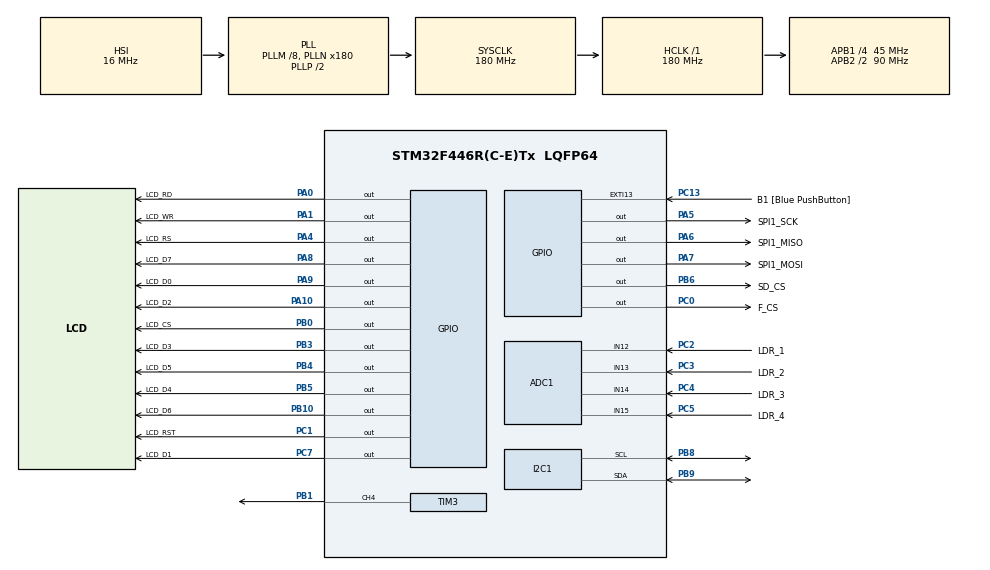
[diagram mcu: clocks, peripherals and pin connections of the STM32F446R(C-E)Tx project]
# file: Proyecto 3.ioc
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ADC1.Channel-0\#ChannelRegularConversion=ADC_CHANNEL_12
ADC1.Channel-1\#ChannelRegularConversion=ADC_CHANNEL_13
ADC1.Channel-2\#ChannelRegularConversion=ADC_CHANNEL_14
ADC1.Channel-3\#ChannelRegularConversion=ADC_CHANNEL_15
ADC1.ContinuousConvMode=ENABLE
ADC1.DMAContinuousRequests=ENABLE
ADC1.EOCSelection=ADC_EOC_SEQ_CONV
ADC1.NbrOfConversion=4
ADC1.NbrOfConversionFlag=1
ADC1.Rank-0\#ChannelRegularConversion=1
ADC1.Rank-1\#ChannelRegularConversion=2
ADC1.Rank-2\#ChannelRegularConversion=3
ADC1.Rank-3\#ChannelRegularConversion=4
ADC1.SamplingTime-0\#ChannelRegularConversion=ADC_SAMPLETIME_480CYCLES
ADC1.SamplingTime-1\#ChannelRegularConversion=ADC_SAMPLETIME_480CYCLES
ADC1.SamplingTime-2\#ChannelRegularConversion=ADC_SAMPLETIME_480CYCLES
ADC1.SamplingTime-3\#ChannelRegularConversion=ADC_SAMPLETIME_480CYCLES
ADC1.ScanConvMode=ENABLE
ADC1.master=1
Dma.ADC1.0.Direction=DMA_PERIPH_TO_MEMORY
Dma.ADC1.0.FIFOMode=DMA_FIFOMODE_DISABLE
Dma.ADC1.0.Instance=DMA2_Stream0
Dma.ADC1.0.MemDataAlignment=DMA_MDATAALIGN_HALFWORD
Dma.ADC1.0.MemInc=DMA_MINC_ENABLE
Dma.ADC1.0.Mode=DMA_CIRCULAR
Dma.ADC1.0.PeriphDataAlignment=DMA_PDATAALIGN_HALFWORD
Dma.ADC1.0.PeriphInc=DMA_PINC_DISABLE
Dma.ADC1.0.Priority=DMA_PRIORITY_LOW
Dma.Request0=ADC1
Dma.Request1=TIM3_CH4/UP
Dma.TIM3_CH4/UP.1.Direction=DMA_MEMORY_TO_PERIPH
Dma.TIM3_CH4/UP.1.FIFOMode=DMA_FIFOMODE_DISABLE
Dma.TIM3_CH4/UP.1.Instance=DMA1_Stream2
Dma.TIM3_CH4/UP.1.MemDataAlignment=DMA_MDATAALIGN_HALFWORD
Dma.TIM3_CH4/UP.1.MemInc=DMA_MINC_ENABLE
Dma.TIM3_CH4/UP.1.Mode=DMA_NORMAL
Dma.TIM3_CH4/UP.1.PeriphDataAlignment=DMA_PDATAALIGN_HALFWORD
Dma.TIM3_CH4/UP.1.PeriphInc=DMA_PINC_DISABLE
Dma.TIM3_CH4/UP.1.Priority=DMA_PRIORITY_LOW
Mcu.Family=STM32F4
Mcu.Name=STM32F446R(C-E)Tx
Mcu.Package=LQFP64
NVIC.DMA1_Stream2_IRQn=true\:0\:0\:false\:false\:true\:false\:true\:true
NVIC.DMA2_Stream0_IRQn=true\:0\:0\:false\:false\:true\:false\:true\:true
NVIC.I2C1_ER_IRQn=true\:0\:0\:false\:false\:true\:true\:true\:true
NVIC.I2C1_EV_IRQn=true\:0\:0\:false\:false\:true\:true\:true\:true
NVIC.PriorityGroup=NVIC_PRIORITYGROUP_0
PA0-WKUP.GPIO_Label=LCD_RD
PA0-WKUP.GPIO_Speed=GPIO_SPEED_FREQ_VERY_HIGH
PA0-WKUP.PinState=GPIO_PIN_SET
PA0-WKUP.Signal=GPIO_Output
PA1.GPIO_Label=LCD_WR
PA1.GPIO_Speed=GPIO_SPEED_FREQ_VERY_HIGH
PA1.PinState=GPIO_PIN_SET
PA1.Signal=GPIO_Output
PA10.GPIO_Label=LCD_D2
PA10.GPIO_Speed=GPIO_SPEED_FREQ_VERY_HIGH
PA10.Signal=GPIO_Output
PA13.GPIO_Label=TMS
PA13.Signal=SYS_JTMS-SWDIO
PA14.GPIO_Label=TCK
PA14.Signal=SYS_JTCK-SWCLK
PA2.GPIO_Label=USART_TX
PA2.Signal=USART2_TX
PA3.GPIO_Label=USART_RX
PA3.Signal=USART2_RX
PA4.GPIO_Label=LCD_RS
PA4.GPIO_Speed=GPIO_SPEED_FREQ_VERY_HIGH
PA4.Signal=GPIO_Output
PA5.GPIO_Label=SPI1_SCK
PA5.GPIO_Speed=GPIO_SPEED_FREQ_VERY_HIGH
PA5.Signal=GPIO_Output
PA6.GPIO_Label=SPI1_MISO
PA6.GPIO_Speed=GPIO_SPEED_FREQ_VERY_HIGH
PA6.Signal=GPIO_Output
PA7.GPIO_Label=SPI1_MOSI
PA7.GPIO_Speed=GPIO_SPEED_FREQ_VERY_HIGH
PA7.Signal=GPIO_Output
PA8.GPIO_Label=LCD_D7
PA8.GPIO_Speed=GPIO_SPEED_FREQ_VERY_HIGH
PA8.Signal=GPIO_Output
PA9.GPIO_Label=LCD_D0
PA9.GPIO_Speed=GPIO_SPEED_FREQ_VERY_HIGH
PA9.Signal=GPIO_Output
PB0.GPIO_Label=LCD_CS
PB0.GPIO_Speed=GPIO_SPEED_FREQ_VERY_HIGH
PB0.PinState=GPIO_PIN_SET
PB0.Signal=GPIO_Output
PB1.Signal=S_TIM3_CH4
PB10.GPIO_Label=LCD_D6
PB10.GPIO_Speed=GPIO_SPEED_FREQ_VERY_HIGH
PB10.Signal=GPIO_Output
PB3.GPIO_Label=LCD_D3
PB3.GPIO_Speed=GPIO_SPEED_FREQ_VERY_HIGH
PB3.Signal=GPIO_Output
PB4.GPIO_Label=LCD_D5
PB4.GPIO_Speed=GPIO_SPEED_FREQ_VERY_HIGH
PB4.Signal=GPIO_Output
PB5.GPIO_Label=LCD_D4
PB5.GPIO_Speed=GPIO_SPEED_FREQ_VERY_HIGH
PB5.Signal=GPIO_Output
PB6.GPIO_Label=SD_CS
PB6.GPIO_Speed=GPIO_SPEED_FREQ_VERY_HIGH
PB6.PinState=GPIO_PIN_SET
PB6.Signal=GPIO_Output
PB8.Mode=I2C
PB8.Signal=I2C1_SCL
PB9.Mode=I2C
PB9.Signal=I2C1_SDA
PC0.GPIO_Label=F_CS
PC0.GPIO_Speed=GPIO_SPEED_FREQ_VERY_HIGH
PC0.PinState=GPIO_PIN_SET
PC0.Signal=GPIO_Output
PC1.GPIO_Label=LCD_RST
PC1.GPIO_Speed=GPIO_SPEED_FREQ_VERY_HIGH
PC1.PinState=GPIO_PIN_SET
PC1.Signal=GPIO_Output
PC13.GPIO_Label=B1 [Blue PushButton]
PC13.GPIO_ModeDefaultEXTI=GPIO_MODE_IT_FALLING
PC13.Signal=GPXTI13
PC14-OSC32_IN.Signal=RCC_OSC32_IN
PC15-OSC32_OUT.Signal=RCC_OSC32_OUT
PC2.GPIO_Label=LDR_1
PC2.Signal=ADCx_IN12
PC3.GPIO_Label=LDR_2
PC3.Signal=ADCx_IN13
PC4.GPIO_Label=LDR_3
PC4.Signal=ADCx_IN14
PC5.GPIO_Label=LDR_4
PC5.Signal=ADCx_IN15
PC7.GPIO_Label=LCD_D1
PC7.GPIO_Speed=GPIO_SPEED_FREQ_VERY_HIGH
PC7.Signal=GPIO_Output
PH0-OSC_IN.Signal=RCC_OSC_IN
PH1-OSC_OUT.Signal=RCC_OSC_OUT
ProjectManager.HeapSize=0x200
ProjectManager.StackSize=0x400
ProjectManager.TargetToolchain=STM32CubeIDE
RCC.AHBFreq_Value=180000000
RCC.APB1CLKDivider=RCC_HCLK_DIV4
RCC.APB1Freq_Value=45000000
RCC.APB1TimFreq_Value=90000000
RCC.APB2CLKDivider=RCC_HCLK_DIV2
RCC.APB2Freq_Value=90000000
RCC.APB2TimFreq_Value=180000000
RCC.CortexFreq_Value=180000000
RCC.FLatency-AdvancedSettings=FLASH_LATENCY_5
RCC.HCLKFreq_Value=180000000
RCC.HSE_VALUE=8000000
RCC.HSI_VALUE=16000000
RCC.LSE_VALUE=32768
RCC.PLLM=8
RCC.PLLN=180
RCC.SYSCLKFreq_VALUE=180000000
RCC.SYSCLKSource=RCC_SYSCLKSOURCE_PLLCLK
RCC.USBFreq_Value=180000000
RCC.VCOOutputFreq_Value=360000000
SH.ADCx_IN12.0=ADC1_IN12,IN12
SH.ADCx_IN13.0=ADC1_IN13,IN13
SH.ADCx_IN14.0=ADC1_IN14,IN14
SH.ADCx_IN15.0=ADC1_IN15,IN15
SH.S_TIM3_CH4.0=TIM3_CH4,PWM Generation4 CH4
TIM3.Channel-PWM\ Generation4\ CH4=TIM_CHANNEL_4
TIM3.Period=112
board=NUCLEO-F446RE

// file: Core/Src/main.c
/* USER CODE BEGIN Header */
/**
  ******************************************************************************
  * @file           : main.c
  * @brief          : Main program body
  ******************************************************************************
  * @attention
  *
  * Copyright (c) 2026 STMicroelectronics.
  * All rights reserved.
  *
  * This software is licensed under terms that can be found in the LICENSE file
  * in the root directory of this software component.
  * If no LICENSE file comes with this software, it is provided AS-IS.
  *
  ******************************************************************************
  */
/* USER CODE END Header */
#include "main.h"

/* USER CODE BEGIN PD */
#define LCD_WIDTH   320U
#define LCD_HEIGHT  240U
#define LCD_MADCTL  0x28U  //Horizontal. Usar 0xE8 para girar 180 grados.
#define LDR_LIGHT_ON   3000U
#define LDR_LIGHT_OFF  2600U
#define I2C_A_ADDRESS 0x31U
#define NEOPIXEL_COUNT 4U
#define NEOPIXEL_RESET_SLOTS 240U
#define NEOPIXEL_ZERO 34U
#define NEOPIXEL_ONE 68U
#define NEOPIXEL_FRAME_SIZE (NEOPIXEL_COUNT * 24U + NEOPIXEL_RESET_SLOTS)

#define RGB565(r, g, b) ((uint16_t)((((r) & 0xF8U) << 8) | \
                                   (((g) & 0xFCU) << 3) | \
                                   (((b) & 0xF8U) >> 3)))
#define C_ROAD   RGB565(38U, 50U, 56U)
#define C_BAY    RGB565(214U, 217U, 218U)
#define C_LINE   RGB565(239U, 196U, 56U)
#define C_TEXT   RGB565(30U, 41U, 48U)
#define C_WHITE  RGB565(255U, 255U, 255U)
#define C_FREE   RGB565(22U, 101U, 52U)
#define C_CAR    RGB565(223U, 70U, 70U)
#define C_ROOF   RGB565(241U, 123U, 114U)
#define C_WHEEL  RGB565(23U, 33U, 38U)
/* USER CODE END PD */

ADC_HandleTypeDef hadc1;
DMA_HandleTypeDef hdma_adc1;
I2C_HandleTypeDef hi2c1;
TIM_HandleTypeDef htim3;
DMA_HandleTypeDef hdma_tim3_ch4_up;

/* USER CODE BEGIN PV */
//P1 a P4 usan LDR; P5 a P8 reciben su estado del ESP32.
static volatile uint8_t parkingOccupied[8] = {0U};
//DMA escribe lecturas de 12 bits en este arreglo de medias palabras.
static volatile uint16_t ldrRaw[4] = {0U};
//Cada valor indica la duracion en alto de un bit; al final van 300 us en bajo.
static uint16_t neopixelFrame[NEOPIXEL_FRAME_SIZE] = {0U};
static volatile uint8_t neopixelFinished = 0U;
//El ESP32 lee tres bytes y escribe cuatro bytes con los ocho espacios.
static uint8_t i2cLocal[3] = {0x5AU, 0U, 0x5AU};
static uint8_t i2cGlobalRx[4] = {0U};
static volatile uint32_t i2cGlobalFrame = 0U;
static uint8_t i2cReady = 0U;
/* USER CODE END PV */

void SystemClock_Config(void);
static void MX_GPIO_Init(void);
static void MX_DMA_Init(void);
static void MX_ADC1_Init(void);
static void MX_I2C1_Init(void);
static void MX_TIM3_Init(void);

/* USER CODE BEGIN 0 */
//El primer LED corresponde a P1, el cuarto a P4; el orden de color es GRB.
static void NeoPixel_Show(void)
{
  uint16_t index = 0U;

  for (uint8_t slot = 0U; slot < NEOPIXEL_COUNT; ++slot)
  {
    uint8_t green = (parkingOccupied[slot] == 0U) ? 32U : 0U;
    uint8_t red = (parkingOccupied[slot] == 0U) ? 0U : 32U;
    uint32_t grb = ((uint32_t)green << 16) | ((uint32_t)red << 8);

    for (uint8_t bit = 0U; bit < 24U; ++bit)
    {
      neopixelFrame[index++] = ((grb & (1UL << (23U - bit))) != 0U)
                              ? NEOPIXEL_ONE : NEOPIXEL_ZERO;
    }
  }

  while (index < NEOPIXEL_FRAME_SIZE) { neopixelFrame[index++] = 0U; }

  neopixelFinished = 0U;
  if (HAL_TIM_PWM_Start_DMA(&htim3, TIM_CHANNEL_4,
                            (uint32_t *)neopixelFrame,
                            (uint16_t)NEOPIXEL_FRAME_SIZE) != HAL_OK)
  {
    Error_Handler();
  }

  uint32_t start = HAL_GetTick();
  while (neopixelFinished == 0U)
  {
    if ((HAL_GetTick() - start) > 10U) { Error_Handler(); }
  }

  if (HAL_TIM_PWM_Stop_DMA(&htim3, TIM_CHANNEL_4) != HAL_OK)
  {
    Error_Handler();
  }
}

void HAL_TIM_PWM_PulseFinishedCallback(TIM_HandleTypeDef *htim)
{
  if (htim->Instance == TIM3) { neopixelFinished = 1U; }
}

//TFT ILI9341 de 8 bits: D0=PA9, D1=PC7, D2=PA10, D3=PB3.
//D4=PB5, D5=PB4, D6=PB10, D7=PA8.
//RD=PA0, WR=PA1, RS=PA4, CS=PB0, RST=PC1.
//RD permanece en alto; solo escribimos en la pantalla.
static void LCD_Write8(uint8_t value)
{
  HAL_GPIO_WritePin(GPIOA, LCD_D0_Pin, (value & 0x01U) ? GPIO_PIN_SET : GPIO_PIN_RESET);
  HAL_GPIO_WritePin(GPIOC, LCD_D1_Pin, (value & 0x02U) ? GPIO_PIN_SET : GPIO_PIN_RESET);
  HAL_GPIO_WritePin(GPIOA, LCD_D2_Pin, (value & 0x04U) ? GPIO_PIN_SET : GPIO_PIN_RESET);
  HAL_GPIO_WritePin(GPIOB, LCD_D3_Pin, (value & 0x08U) ? GPIO_PIN_SET : GPIO_PIN_RESET);
  HAL_GPIO_WritePin(GPIOB, LCD_D4_Pin, (value & 0x10U) ? GPIO_PIN_SET : GPIO_PIN_RESET);
  HAL_GPIO_WritePin(GPIOB, LCD_D5_Pin, (value & 0x20U) ? GPIO_PIN_SET : GPIO_PIN_RESET);
  HAL_GPIO_WritePin(GPIOB, LCD_D6_Pin, (value & 0x40U) ? GPIO_PIN_SET : GPIO_PIN_RESET);
  HAL_GPIO_WritePin(GPIOA, LCD_D7_Pin, (value & 0x80U) ? GPIO_PIN_SET : GPIO_PIN_RESET);

  __NOP(); __NOP(); __NOP(); __NOP();
  HAL_GPIO_WritePin(GPIOA, LCD_WR_Pin, GPIO_PIN_RESET);
  __NOP(); __NOP(); __NOP(); __NOP();
  HAL_GPIO_WritePin(GPIOA, LCD_WR_Pin, GPIO_PIN_SET);
  __NOP(); __NOP(); __NOP(); __NOP();
}

//Deja CS activo y RS en modo datos despues del comando.
static void LCD_BeginCommand(uint8_t command)
{
  HAL_GPIO_WritePin(GPIOB, LCD_CS_Pin, GPIO_PIN_RESET);
  HAL_GPIO_WritePin(GPIOA, LCD_RS_Pin, GPIO_PIN_RESET);
  LCD_Write8(command);
  HAL_GPIO_WritePin(GPIOA, LCD_RS_Pin, GPIO_PIN_SET);
}

static void LCD_EndWrite(void)
{
  HAL_GPIO_WritePin(GPIOB, LCD_CS_Pin, GPIO_PIN_SET);
}

static void LCD_WriteRegister(uint8_t command, const uint8_t *data, uint8_t count)
{
  LCD_BeginCommand(command);
  for (uint8_t i = 0U; i < count; ++i)
  {
    LCD_Write8(data[i]);
  }
  LCD_EndWrite();
}

static void LCD_Init(void)
{
  //Formato: comando, cantidad de parametros y parametros.
  static const uint8_t init[] = {
    0xEF, 3, 0x03, 0x80, 0x02,
    0xCF, 3, 0x00, 0xC1, 0x30,
    0xED, 4, 0x64, 0x03, 0x12, 0x81,
    0xE8, 3, 0x85, 0x00, 0x78,
    0xCB, 5, 0x39, 0x2C, 0x00, 0x34, 0x02,
    0xF7, 1, 0x20,
    0xEA, 2, 0x00, 0x00,
    0xC0, 1, 0x23,
    0xC1, 1, 0x10,
    0xC5, 2, 0x3E, 0x28,
    0xC7, 1, 0x86,
    0x36, 1, LCD_MADCTL,
    0x3A, 1, 0x55,
    0xB1, 2, 0x00, 0x18,
    0xB6, 3, 0x08, 0x82, 0x27,
    0xF2, 1, 0x00,
    0x26, 1, 0x01,
    0xE0, 15, 0x0F, 0x31, 0x2B, 0x0C, 0x0E, 0x08, 0x4E, 0xF1,
              0x37, 0x07, 0x10, 0x03, 0x0E, 0x09, 0x00,
    0xE1, 15, 0x00, 0x0E, 0x14, 0x03, 0x11, 0x07, 0x31, 0xC1,
              0x48, 0x08, 0x0F, 0x0C, 0x31, 0x36, 0x0F
  };

  HAL_GPIO_WritePin(GPIOB, LCD_CS_Pin, GPIO_PIN_SET);
  HAL_GPIO_WritePin(GPIOA, LCD_RD_Pin | LCD_WR_Pin | LCD_RS_Pin, GPIO_PIN_SET);

  HAL_GPIO_WritePin(GPIOC, LCD_RST_Pin, GPIO_PIN_SET);
  HAL_Delay(5U);
  HAL_GPIO_WritePin(GPIOC, LCD_RST_Pin, GPIO_PIN_RESET);
  HAL_Delay(20U);
  HAL_GPIO_WritePin(GPIOC, LCD_RST_Pin, GPIO_PIN_SET);
  HAL_Delay(150U);

  LCD_WriteRegister(0x01U, 0, 0U); //Reinicio por software.
  HAL_Delay(150U);

  uint32_t i = 0U;
  while (i < sizeof(init))
  {
    uint8_t command = init[i++];
    uint8_t count = init[i++];
    LCD_WriteRegister(command, &init[i], count);
    i += count;
  }

  LCD_WriteRegister(0x11U, 0, 0U); //Salir de reposo.
  HAL_Delay(150U);
  LCD_WriteRegister(0x29U, 0, 0U); //Encender la pantalla.
  HAL_Delay(20U);
}

//Dibuja un rectangulo recortado a los limites de la pantalla.
static void LCD_FillRect(uint16_t x, uint16_t y, uint16_t w, uint16_t h,
                         uint16_t color)
{
  if ((x >= LCD_WIDTH) || (y >= LCD_HEIGHT) || (w == 0U) || (h == 0U))
  {
    return;
  }
  if (w > LCD_WIDTH - x)  { w = LCD_WIDTH - x; }
  if (h > LCD_HEIGHT - y) { h = LCD_HEIGHT - y; }

  uint16_t xEnd = x + w - 1U;
  uint16_t yEnd = y + h - 1U;
  uint8_t coordinates[4];

  coordinates[0] = (uint8_t)(x >> 8);
  coordinates[1] = (uint8_t)x;
  coordinates[2] = (uint8_t)(xEnd >> 8);
  coordinates[3] = (uint8_t)xEnd;
  LCD_WriteRegister(0x2AU, coordinates, 4U);

  coordinates[0] = (uint8_t)(y >> 8);
  coordinates[1] = (uint8_t)y;
  coordinates[2] = (uint8_t)(yEnd >> 8);
  coordinates[3] = (uint8_t)yEnd;
  LCD_WriteRegister(0x2BU, coordinates, 4U);

  LCD_BeginCommand(0x2CU);
  uint32_t pixels = (uint32_t)w * h;
  while (pixels-- != 0U)
  {
    LCD_Write8((uint8_t)(color >> 8));
    LCD_Write8((uint8_t)color);
  }
  LCD_EndWrite();
}

//Fuente 5x7 con los caracteres usados por la interfaz.
static void LCD_DrawText(uint16_t x, uint16_t y, const char *text,
                         uint16_t color, uint8_t scale)
{
  static const char characters[] = "0123456789PBLIRES:/ ";
  static const uint8_t glyphs[][5] = {
    {0x3E,0x51,0x49,0x45,0x3E}, //0
    {0x00,0x42,0x7F,0x40,0x00}, //1
    {0x42,0x61,0x51,0x49,0x46}, //2
    {0x21,0x41,0x45,0x4B,0x31}, //3
    {0x18,0x14,0x12,0x7F,0x10}, //4
    {0x27,0x45,0x45,0x45,0x39}, //5
    {0x3C,0x4A,0x49,0x49,0x30}, //6
    {0x01,0x71,0x09,0x05,0x03}, //7
    {0x36,0x49,0x49,0x49,0x36}, //8
    {0x06,0x49,0x49,0x29,0x1E}, //9
    {0x7F,0x09,0x09,0x09,0x06}, //P
    {0x7F,0x49,0x49,0x49,0x36}, //B
    {0x7F,0x40,0x40,0x40,0x40}, //L
    {0x00,0x41,0x7F,0x41,0x00}, //I
    {0x7F,0x09,0x19,0x29,0x46}, //R
    {0x7F,0x49,0x49,0x49,0x41}, //E
    {0x46,0x49,0x49,0x49,0x31}, //S
    {0x00,0x36,0x36,0x00,0x00}, //:
    {0x20,0x10,0x08,0x04,0x02}, //Barra
    {0x00,0x00,0x00,0x00,0x00}  //Espacio
  };

  while (*text != '\0')
  {
    uint8_t index = 0U;
    while ((characters[index] != '\0') && (characters[index] != *text))
    {
      ++index;
    }

    if (characters[index] != '\0')
    {
      for (uint8_t column = 0U; column < 5U; ++column)
      {
        for (uint8_t row = 0U; row < 7U; ++row)
        {
          if ((glyphs[index][column] & (1U << row)) != 0U)
          {
            LCD_FillRect(x + column * scale, y + row * scale,
                         scale, scale, color);
          }
        }
      }
    }

    x += 6U * scale;
    ++text;
  }
}

//Carro visto desde arriba, hecho con rectangulos.
static void Parking_DrawCar(uint16_t x, uint16_t y, uint8_t facesDown)
{
  LCD_FillRect(x - 3U, y + 8U, 4U, 11U, C_WHEEL);
  LCD_FillRect(x + 27U, y + 8U, 4U, 11U, C_WHEEL);
  LCD_FillRect(x - 3U, y + 36U, 4U, 11U, C_WHEEL);
  LCD_FillRect(x + 27U, y + 36U, 4U, 11U, C_WHEEL);
  LCD_FillRect(x, y, 28U, 56U, C_CAR);
  LCD_FillRect(x + 4U, y + (facesDown ? 6U : 40U), 20U, 7U, C_ROAD);
  LCD_FillRect(x + 4U, y + 19U, 20U, 17U, C_ROOF);
  LCD_FillRect(x + 3U, y + (facesDown ? 40U : 6U), 22U, 9U, C_ROAD);
}

static void Parking_DrawSpace(uint8_t slot)
{
  char label[] = "P1";
  uint8_t top = (slot < 4U);
  uint16_t left = 8U + (slot % 4U) * 76U;
  uint16_t centerX = left + 38U;

  //Limpiar solo el interior de este espacio para conservar sus lineas.
  LCD_FillRect(left + 2U, top ? 10U : 146U, 72U, 84U, C_BAY);
  label[1] = (char)('1' + slot);
  LCD_DrawText(centerX - 12U, top ? 15U : 213U, label, C_TEXT, 2U);

  if (parkingOccupied[slot] != 0U)
  {
    Parking_DrawCar(centerX - 14U, top ? 32U : 152U, top);
  }
  else
  {
    LCD_DrawText(centerX - 30U, top ? 54U : 173U, "LIBRE", C_FREE, 2U);
  }
}

static void Parking_DrawCounter(void)
{
  uint8_t freeSpaces = 0U;
  char counter[] = "LIBRES: 0/8";

  for (uint8_t slot = 0U; slot < 8U; ++slot)
  {
    if (parkingOccupied[slot] == 0U) { ++freeSpaces; }
  }

  counter[8] = (char)('0' + freeSpaces);
  LCD_FillRect(94U, 113U, 132U, 14U, C_ROAD);
  LCD_DrawText(94U, 113U, counter, C_WHITE, 2U);
}

//Lee las cuatro LDR: al tapar un sensor, su lectura baja y el espacio se ocupa.
static void Parking_UpdateSensors(void)
{
  uint8_t changed = 0U;

  for (uint8_t slot = 0U; slot < 4U; ++slot)
  {
    uint16_t reading = ldrRaw[slot];
    uint8_t occupied = parkingOccupied[slot];

    //Dos umbrales evitan que el dibujo oscile con pequenas variaciones.
    if (reading <= LDR_LIGHT_OFF) { occupied = 1U; }
    else if (reading >= LDR_LIGHT_ON) { occupied = 0U; }

    if (occupied != parkingOccupied[slot])
    {
      parkingOccupied[slot] = occupied;
      Parking_DrawSpace(slot);
      changed = 1U;
    }
  }

  if (changed != 0U)
  {
    Parking_DrawCounter();
    NeoPixel_Show();
  }
}

//Actualiza P5 a P8 solamente cuando el ESP32 confirma que conoce su estado.
static void Parking_UpdateGlobal(void)
{
  uint32_t frame = i2cGlobalFrame;
  uint8_t changed = 0U;

  if ((frame & 0x10000UL) == 0U) { return; }

  for (uint8_t slot = 4U; slot < 8U; ++slot)
  {
    if ((frame & (1UL << (slot + 8U))) == 0U) { continue; }
    uint8_t occupied = ((frame & (1UL << slot)) != 0U) ? 1U : 0U;
    if (parkingOccupied[slot] != occupied)
    {
      parkingOccupied[slot] = occupied;
      Parking_DrawSpace(slot);
      changed = 1U;
    }
  }

  if (changed != 0U) { Parking_DrawCounter(); }
}

static void Parking_Draw(void)
{
  LCD_FillRect(0U, 0U, LCD_WIDTH, LCD_HEIGHT, C_ROAD);

  //Cuatro espacios arriba y otros cuatro abajo del pasillo.
  LCD_FillRect(8U, 8U, 304U, 88U, C_BAY);
  LCD_FillRect(8U, 144U, 304U, 88U, C_BAY);
  LCD_FillRect(8U, 8U, 304U, 2U, C_LINE);
  LCD_FillRect(8U, 230U, 304U, 2U, C_LINE);

  for (uint8_t column = 0U; column <= 4U; ++column)
  {
    uint16_t x = 8U + column * 76U;
    if (column == 4U) { x -= 2U; }
    LCD_FillRect(x, 8U, 2U, 88U, C_LINE);
    LCD_FillRect(x, 144U, 2U, 88U, C_LINE);
  }

  for (uint8_t slot = 0U; slot < 8U; ++slot) { Parking_DrawSpace(slot); }
  Parking_DrawCounter();
}
/* USER CODE END 0 */

int main(void)
{

  /* MCU Configuration--------------------------------------------------------*/

  /* Reset of all peripherals, Initializes the Flash interface and the Systick. */
  HAL_Init();

  /* Configure the system clock */
  SystemClock_Config();

  /* Initialize all configured peripherals */
  MX_GPIO_Init();
  MX_DMA_Init();
  MX_ADC1_Init();
  MX_TIM3_Init();
  /* USER CODE BEGIN 2 */
  //Dibujar todos los espacios vacios al iniciar.
  LCD_Init();
  Parking_Draw();
  //La pantalla arranca antes de intentar habilitar I2C.
  MX_I2C1_Init();
  //Cada conversion ADC corresponde a PC2, PC3, PC4 y PC5, en ese orden.
  if (HAL_ADC_Start_DMA(&hadc1, (uint32_t *)ldrRaw, 4U) != HAL_OK)
  {
    Error_Handler();
  }
  //DMA sigue en modo circular; la CPU revisa los valores cada 100 ms.
  __HAL_DMA_DISABLE_IT(&hdma_adc1, DMA_IT_HT | DMA_IT_TC);
  //Al inicio los cuatro NeoPixel muestran los espacios libres en verde.
  NeoPixel_Show();
  //La direccion de esta STM32 en el bus I2C es 0x31.
  if (i2cReady != 0U) { (void)HAL_I2C_EnableListen_IT(&hi2c1); }
  /* USER CODE END 2 */

  /* Infinite loop */
  while (1)
  {

    /* USER CODE BEGIN 3 */
    Parking_UpdateSensors();
    Parking_UpdateGlobal();
    if ((i2cReady != 0U) &&
        (HAL_I2C_GetState(&hi2c1) == HAL_I2C_STATE_READY))
    {
      (void)HAL_I2C_EnableListen_IT(&hi2c1);
    }
    HAL_Delay(100U);
  }
  /* USER CODE END 3 */
}

void SystemClock_Config(void)
{
  RCC_OscInitTypeDef RCC_OscInitStruct = {0};
  RCC_ClkInitTypeDef RCC_ClkInitStruct = {0};

  /** Configure the main internal regulator output voltage
  */
  __HAL_RCC_PWR_CLK_ENABLE();
  __HAL_PWR_VOLTAGESCALING_CONFIG(PWR_REGULATOR_VOLTAGE_SCALE1);

  /** Initializes the RCC Oscillators according to the specified parameters
  * in the RCC_OscInitTypeDef structure.
  */
  RCC_OscInitStruct.OscillatorType = RCC_OSCILLATORTYPE_HSI;
  RCC_OscInitStruct.HSIState = RCC_HSI_ON;
  RCC_OscInitStruct.HSICalibrationValue = RCC_HSICALIBRATION_DEFAULT;
  RCC_OscInitStruct.PLL.PLLState = RCC_PLL_ON;
  RCC_OscInitStruct.PLL.PLLSource = RCC_PLLSOURCE_HSI;
  RCC_OscInitStruct.PLL.PLLM = 8;
  RCC_OscInitStruct.PLL.PLLN = 180;
  RCC_OscInitStruct.PLL.PLLP = RCC_PLLP_DIV2;
  RCC_OscInitStruct.PLL.PLLQ = 2;
  RCC_OscInitStruct.PLL.PLLR = 2;
  if (HAL_RCC_OscConfig(&RCC_OscInitStruct) != HAL_OK)
  {
    Error_Handler();
  }

  /** Activate the Over-Drive mode
  */
  if (HAL_PWREx_EnableOverDrive() != HAL_OK)
  {
    Error_Handler();
  }

  /** Initializes the CPU, AHB and APB buses clocks
  */
  RCC_ClkInitStruct.ClockType = RCC_CLOCKTYPE_HCLK|RCC_CLOCKTYPE_SYSCLK
                              |RCC_CLOCKTYPE_PCLK1|RCC_CLOCKTYPE_PCLK2;
  RCC_ClkInitStruct.SYSCLKSource = RCC_SYSCLKSOURCE_PLLCLK;
  RCC_ClkInitStruct.AHBCLKDivider = RCC_SYSCLK_DIV1;
  RCC_ClkInitStruct.APB1CLKDivider = RCC_HCLK_DIV4;
  RCC_ClkInitStruct.APB2CLKDivider = RCC_HCLK_DIV2;

  if (HAL_RCC_ClockConfig(&RCC_ClkInitStruct, FLASH_LATENCY_5) != HAL_OK)
  {
    Error_Handler();
  }
}

static void MX_ADC1_Init(void)
{

  ADC_ChannelConfTypeDef sConfig = {0};

  /** Configure the global features of the ADC (Clock, Resolution, Data Alignment and number of conversion)
  */
  hadc1.Instance = ADC1;
  hadc1.Init.ClockPrescaler = ADC_CLOCK_SYNC_PCLK_DIV4;
  hadc1.Init.Resolution = ADC_RESOLUTION_12B;
  hadc1.Init.ScanConvMode = ENABLE;
  hadc1.Init.ContinuousConvMode = ENABLE;
  hadc1.Init.DiscontinuousConvMode = DISABLE;
  hadc1.Init.ExternalTrigConvEdge = ADC_EXTERNALTRIGCONVEDGE_NONE;
  hadc1.Init.ExternalTrigConv = ADC_SOFTWARE_START;
  hadc1.Init.DataAlign = ADC_DATAALIGN_RIGHT;
  hadc1.Init.NbrOfConversion = 4;
  hadc1.Init.DMAContinuousRequests = ENABLE;
  hadc1.Init.EOCSelection = ADC_EOC_SEQ_CONV;
  if (HAL_ADC_Init(&hadc1) != HAL_OK)
  {
    Error_Handler();
  }

  /** Configure for the selected ADC regular channel its corresponding rank in the sequencer and its sample time.
  */
  sConfig.Channel = ADC_CHANNEL_12;
  sConfig.Rank = 1;
  sConfig.SamplingTime = ADC_SAMPLETIME_480CYCLES;
  if (HAL_ADC_ConfigChannel(&hadc1, &sConfig) != HAL_OK)
  {
    Error_Handler();
  }

  /** Configure for the selected ADC regular channel its corresponding rank in the sequencer and its sample time.
  */
  sConfig.Channel = ADC_CHANNEL_13;
  sConfig.Rank = 2;
  if (HAL_ADC_ConfigChannel(&hadc1, &sConfig) != HAL_OK)
  {
    Error_Handler();
  }

  /** Configure for the selected ADC regular channel its corresponding rank in the sequencer and its sample time.
  */
  sConfig.Channel = ADC_CHANNEL_14;
  sConfig.Rank = 3;
  if (HAL_ADC_ConfigChannel(&hadc1, &sConfig) != HAL_OK)
  {
    Error_Handler();
  }

  /** Configure for the selected ADC regular channel its corresponding rank in the sequencer and its sample time.
  */
  sConfig.Channel = ADC_CHANNEL_15;
  sConfig.Rank = 4;
  if (HAL_ADC_ConfigChannel(&hadc1, &sConfig) != HAL_OK)
  {
    Error_Handler();
  }

}

//Inicializacion de I2C1 como esclavo de 7 bits en la direccion 0x31.
static void MX_I2C1_Init(void)
{
  hi2c1.Instance = I2C1;
  hi2c1.Init.ClockSpeed = 100000U;
  hi2c1.Init.DutyCycle = I2C_DUTYCYCLE_2;
  hi2c1.Init.OwnAddress1 = (I2C_A_ADDRESS << 1);
  hi2c1.Init.AddressingMode = I2C_ADDRESSINGMODE_7BIT;
  hi2c1.Init.DualAddressMode = I2C_DUALADDRESS_DISABLE;
  hi2c1.Init.OwnAddress2 = 0x62U;
  hi2c1.Init.GeneralCallMode = I2C_GENERALCALL_DISABLE;
  hi2c1.Init.NoStretchMode = I2C_NOSTRETCH_DISABLE;
  i2cReady = (HAL_I2C_Init(&hi2c1) == HAL_OK) ? 1U : 0U;
}

//Inicializacion de TIM3 para el envio de datos a los NeoPixel.
static void MX_TIM3_Init(void)
{

  TIM_MasterConfigTypeDef sMasterConfig = {0};
  TIM_OC_InitTypeDef sConfigOC = {0};

  htim3.Instance = TIM3;
  htim3.Init.Prescaler = 0;
  htim3.Init.CounterMode = TIM_COUNTERMODE_UP;
  htim3.Init.Period = 112;
  htim3.Init.ClockDivision = TIM_CLOCKDIVISION_DIV1;
  htim3.Init.AutoReloadPreload = TIM_AUTORELOAD_PRELOAD_DISABLE;
  if (HAL_TIM_PWM_Init(&htim3) != HAL_OK)
  {
    Error_Handler();
  }
  sMasterConfig.MasterOutputTrigger = TIM_TRGO_RESET;
  sMasterConfig.MasterSlaveMode = TIM_MASTERSLAVEMODE_DISABLE;
  if (HAL_TIMEx_MasterConfigSynchronization(&htim3, &sMasterConfig) != HAL_OK)
  {
    Error_Handler();
  }
  sConfigOC.OCMode = TIM_OCMODE_PWM1;
  sConfigOC.Pulse = 0;
  sConfigOC.OCPolarity = TIM_OCPOLARITY_HIGH;
  sConfigOC.OCFastMode = TIM_OCFAST_DISABLE;
  if (HAL_TIM_PWM_ConfigChannel(&htim3, &sConfigOC, TIM_CHANNEL_4) != HAL_OK)
  {
    Error_Handler();
  }

  /* USER CODE BEGIN TIM3_Init 2 */
  //El DMA cambia el pulso despues de cada bit; el registro se aplica al siguiente.
  TIM3->CCMR2 |= TIM_CCMR2_OC4PE;
  /* USER CODE END TIM3_Init 2 */
  HAL_TIM_MspPostInit(&htim3);

}

static void MX_DMA_Init(void)
{

  /* DMA controller clock enable */
  __HAL_RCC_DMA1_CLK_ENABLE();
  __HAL_RCC_DMA2_CLK_ENABLE();

  /* DMA interrupt init */
  //Interrupcion del DMA de TIM3.
  HAL_NVIC_SetPriority(DMA1_Stream2_IRQn, 1, 0);
  HAL_NVIC_EnableIRQ(DMA1_Stream2_IRQn);
  /* DMA2_Stream0_IRQn interrupt configuration */
  HAL_NVIC_SetPriority(DMA2_Stream0_IRQn, 0, 0);
  HAL_NVIC_EnableIRQ(DMA2_Stream0_IRQn);

}

static void MX_GPIO_Init(void)
{
  GPIO_InitTypeDef GPIO_InitStruct = {0};

  /* GPIO Ports Clock Enable */
  __HAL_RCC_GPIOC_CLK_ENABLE();
  __HAL_RCC_GPIOH_CLK_ENABLE();
  __HAL_RCC_GPIOA_CLK_ENABLE();
  __HAL_RCC_GPIOB_CLK_ENABLE();

  /*Configure GPIO pin Output Level */
  HAL_GPIO_WritePin(GPIOC, F_CS_Pin|LCD_RST_Pin, GPIO_PIN_SET);

  /*Configure GPIO pin Output Level */
  HAL_GPIO_WritePin(GPIOA, LCD_RD_Pin|LCD_WR_Pin, GPIO_PIN_SET);

  /*Configure GPIO pin Output Level */
  HAL_GPIO_WritePin(GPIOA, LCD_RS_Pin|SPI1_SCK_Pin|SPI1_MISO_Pin|SPI1_MOSI_Pin
                          |LCD_D7_Pin|LCD_D0_Pin|LCD_D2_Pin, GPIO_PIN_RESET);

  /*Configure GPIO pin Output Level */
  HAL_GPIO_WritePin(GPIOB, LCD_CS_Pin|SD_CS_Pin, GPIO_PIN_SET);

  /*Configure GPIO pin Output Level */
  HAL_GPIO_WritePin(GPIOB, LCD_D6_Pin|LCD_D3_Pin|LCD_D5_Pin|LCD_D4_Pin, GPIO_PIN_RESET);

  /*Configure GPIO pin Output Level */
  HAL_GPIO_WritePin(LCD_D1_GPIO_Port, LCD_D1_Pin, GPIO_PIN_RESET);

  /*Configure GPIO pin : B1_Pin */
  GPIO_InitStruct.Pin = B1_Pin;
  GPIO_InitStruct.Mode = GPIO_MODE_IT_FALLING;
  GPIO_InitStruct.Pull = GPIO_NOPULL;
  HAL_GPIO_Init(B1_GPIO_Port, &GPIO_InitStruct);

  /*Configure GPIO pins : F_CS_Pin LCD_RST_Pin LCD_D1_Pin */
  GPIO_InitStruct.Pin = F_CS_Pin|LCD_RST_Pin|LCD_D1_Pin;
  GPIO_InitStruct.Mode = GPIO_MODE_OUTPUT_PP;
  GPIO_InitStruct.Pull = GPIO_NOPULL;
  GPIO_InitStruct.Speed = GPIO_SPEED_FREQ_VERY_HIGH;
  HAL_GPIO_Init(GPIOC, &GPIO_InitStruct);

  /*Configure GPIO pins : LCD_RD_Pin LCD_WR_Pin LCD_RS_Pin SPI1_SCK_Pin
                           SPI1_MISO_Pin SPI1_MOSI_Pin LCD_D7_Pin LCD_D0_Pin
                           LCD_D2_Pin */
  GPIO_InitStruct.Pin = LCD_RD_Pin|LCD_WR_Pin|LCD_RS_Pin|SPI1_SCK_Pin
                          |SPI1_MISO_Pin|SPI1_MOSI_Pin|LCD_D7_Pin|LCD_D0_Pin
                          |LCD_D2_Pin;
  GPIO_InitStruct.Mode = GPIO_MODE_OUTPUT_PP;
  GPIO_InitStruct.Pull = GPIO_NOPULL;
  GPIO_InitStruct.Speed = GPIO_SPEED_FREQ_VERY_HIGH;
  HAL_GPIO_Init(GPIOA, &GPIO_InitStruct);

  /*Configure GPIO pins : USART_TX_Pin USART_RX_Pin */
  GPIO_InitStruct.Pin = USART_TX_Pin|USART_RX_Pin;
  GPIO_InitStruct.Mode = GPIO_MODE_AF_PP;
  GPIO_InitStruct.Pull = GPIO_NOPULL;
  GPIO_InitStruct.Speed = GPIO_SPEED_FREQ_VERY_HIGH;
  GPIO_InitStruct.Alternate = GPIO_AF7_USART2;
  HAL_GPIO_Init(GPIOA, &GPIO_InitStruct);

  /*Configure GPIO pins : LCD_CS_Pin LCD_D6_Pin LCD_D3_Pin LCD_D5_Pin
                           LCD_D4_Pin SD_CS_Pin */
  GPIO_InitStruct.Pin = LCD_CS_Pin|LCD_D6_Pin|LCD_D3_Pin|LCD_D5_Pin
                          |LCD_D4_Pin|SD_CS_Pin;
  GPIO_InitStruct.Mode = GPIO_MODE_OUTPUT_PP;
  GPIO_InitStruct.Pull = GPIO_NOPULL;
  GPIO_InitStruct.Speed = GPIO_SPEED_FREQ_VERY_HIGH;
  HAL_GPIO_Init(GPIOB, &GPIO_InitStruct);

}

/* USER CODE BEGIN 4 */
//Cuando el ESP32 lee, entregamos la ocupacion local de P1 a P4.
void HAL_I2C_AddrCallback(I2C_HandleTypeDef *hi2c,
                          uint8_t TransferDirection,
                          uint16_t AddrMatchCode)
{
  (void)AddrMatchCode;
  if (hi2c->Instance != I2C1) { return; }

  if (TransferDirection == I2C_DIRECTION_TRANSMIT)
  {
    (void)HAL_I2C_Slave_Seq_Receive_IT(hi2c, i2cGlobalRx,
                                        4U, I2C_FIRST_AND_LAST_FRAME);
  }
  else
  {
    uint8_t mask = 0U;
    for (uint8_t slot = 0U; slot < 4U; ++slot)
    {
      if (parkingOccupied[slot] != 0U) { mask |= (uint8_t)(1U << slot); }
    }
    i2cLocal[0] = 0x5AU;
    i2cLocal[1] = mask;
    i2cLocal[2] = (uint8_t)(0x5AU ^ mask);
    (void)HAL_I2C_Slave_Seq_Transmit_IT(hi2c, i2cLocal,
                                         3U, I2C_FIRST_AND_LAST_FRAME);
  }
}

//Publica la trama global verificada para actualizar la pantalla en el bucle.
void HAL_I2C_SlaveRxCpltCallback(I2C_HandleTypeDef *hi2c)
{
  if (hi2c->Instance != I2C1) { return; }
  if (i2cGlobalRx[0] != 0xA5U) { return; }
  if (i2cGlobalRx[3] !=
      (uint8_t)(0xA5U ^ i2cGlobalRx[1] ^ i2cGlobalRx[2])) { return; }

  i2cGlobalFrame = 0x10000UL |
      ((uint32_t)i2cGlobalRx[2] << 8) | i2cGlobalRx[1];
}

void HAL_I2C_ListenCpltCallback(I2C_HandleTypeDef *hi2c)
{
  if (hi2c->Instance == I2C1) { (void)HAL_I2C_EnableListen_IT(hi2c); }
}

void HAL_I2C_ErrorCallback(I2C_HandleTypeDef *hi2c)
{
  if ((hi2c->Instance == I2C1) &&
      (HAL_I2C_GetState(hi2c) == HAL_I2C_STATE_READY))
  {
    (void)HAL_I2C_EnableListen_IT(hi2c);
  }
}

/* USER CODE END 4 */

void Error_Handler(void)
{
  __disable_irq();
  while (1)
  {
  }
}
